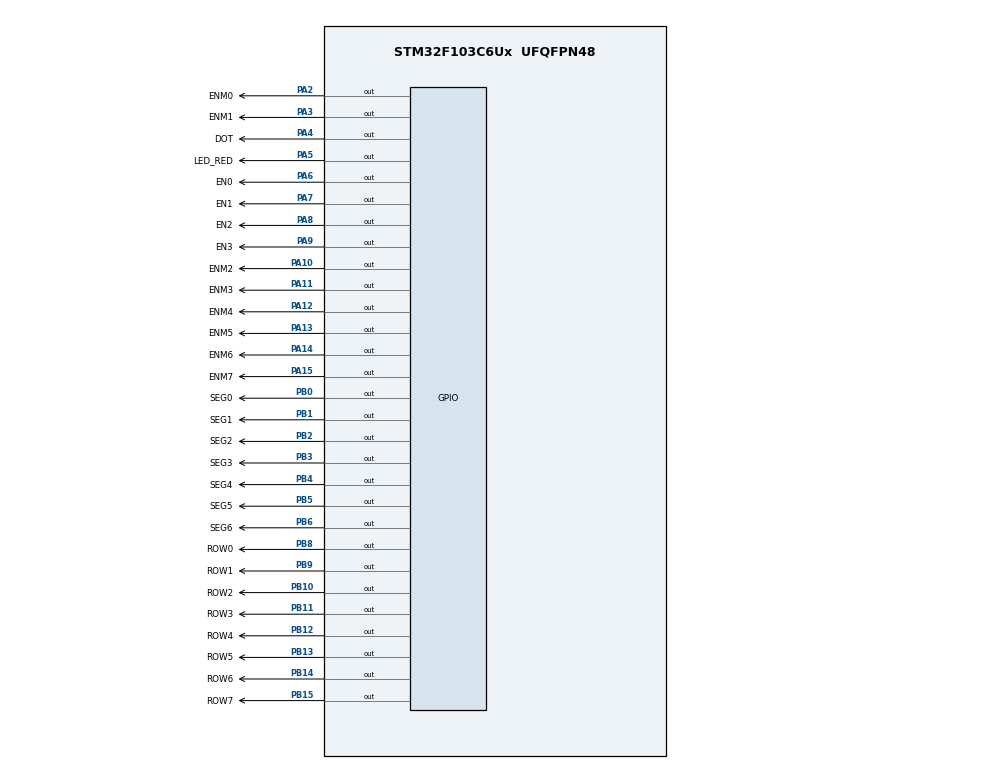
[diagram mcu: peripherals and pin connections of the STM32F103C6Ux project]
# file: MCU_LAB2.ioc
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Mcu.Family=STM32F1
Mcu.Name=STM32F103C6Ux
Mcu.Package=UFQFPN48
NVIC.PriorityGroup=NVIC_PRIORITYGROUP_4
NVIC.TIM2_IRQn=true\:0\:0\:false\:false\:true\:true\:true
PA10.GPIO_Label=ENM2
PA10.Signal=GPIO_Output
PA11.GPIO_Label=ENM3
PA11.Signal=GPIO_Output
PA12.GPIO_Label=ENM4
PA12.Signal=GPIO_Output
PA13.GPIO_Label=ENM5
PA13.Signal=GPIO_Output
PA14.GPIO_Label=ENM6
PA14.Signal=GPIO_Output
PA15.GPIO_Label=ENM7
PA15.Signal=GPIO_Output
PA2.GPIO_Label=ENM0
PA2.Signal=GPIO_Output
PA3.GPIO_Label=ENM1
PA3.Signal=GPIO_Output
PA4.GPIO_Label=DOT
PA4.Signal=GPIO_Output
PA5.GPIO_Label=LED_RED
PA5.Signal=GPIO_Output
PA6.GPIO_Label=EN0
PA6.Signal=GPIO_Output
PA7.GPIO_Label=EN1
PA7.Signal=GPIO_Output
PA8.GPIO_Label=EN2
PA8.Signal=GPIO_Output
PA9.GPIO_Label=EN3
PA9.Signal=GPIO_Output
PB0.GPIO_Label=SEG0
PB0.Signal=GPIO_Output
PB1.GPIO_Label=SEG1
PB1.Signal=GPIO_Output
PB10.GPIO_Label=ROW2
PB10.Signal=GPIO_Output
PB11.GPIO_Label=ROW3
PB11.Signal=GPIO_Output
PB12.GPIO_Label=ROW4
PB12.Signal=GPIO_Output
PB13.GPIO_Label=ROW5
PB13.Signal=GPIO_Output
PB14.GPIO_Label=ROW6
PB14.Signal=GPIO_Output
PB15.GPIO_Label=ROW7
PB15.Signal=GPIO_Output
PB2.GPIO_Label=SEG2
PB2.Signal=GPIO_Output
PB3.GPIO_Label=SEG3
PB3.Signal=GPIO_Output
PB4.GPIO_Label=SEG4
PB4.Signal=GPIO_Output
PB5.GPIO_Label=SEG5
PB5.Signal=GPIO_Output
PB6.GPIO_Label=SEG6
PB6.Signal=GPIO_Output
PB8.GPIO_Label=ROW0
PB8.Signal=GPIO_Output
PB9.GPIO_Label=ROW1
PB9.Signal=GPIO_Output
ProjectManager.HeapSize=0x200
ProjectManager.StackSize=0x400
ProjectManager.TargetToolchain=STM32CubeIDE
RCC.APB1Freq_Value=8000000
RCC.APB2Freq_Value=8000000
TIM2.Period=9
TIM2.Prescaler=7999
VP_SYS_VS_ND.Mode=No_Debug
VP_TIM2_VS_ClockSourceINT.Mode=Internal
board=custom

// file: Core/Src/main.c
/* USER CODE BEGIN Header */
/**
  ******************************************************************************
  * @file           : main.c
  * @brief          : Main program body
  ******************************************************************************
  * @attention
  *
  * <h2><center>&copy; Copyright (c) 2023 STMicroelectronics.
  * All rights reserved.</center></h2>
  *
  * This software component is licensed by ST under BSD 3-Clause license,
  * the "License"; You may not use this file except in compliance with the
  * License. You may obtain a copy of the License at:
  *                        opensource.org/licenses/BSD-3-Clause
  *
  ******************************************************************************
  */
/* USER CODE END Header */
#include "main.h"

TIM_HandleTypeDef htim2;

void SystemClock_Config(void);
static void MX_GPIO_Init(void);
static void MX_TIM2_Init(void);

/* USER CODE BEGIN 0 */
const int MAX_LED = 4;
int index_led = 0;
int led_buffer[4] = {1,2,3,4};
int hour = 15, minute = 8, second = 50;
void display7SEG(int num) {
	switch (num) {
		case 0:
			HAL_GPIO_WritePin(GPIOB, 0B0111111, GPIO_PIN_RESET);
			HAL_GPIO_WritePin(GPIOB, 0B1000000, GPIO_PIN_SET);
			break;
		case 1:
			HAL_GPIO_WritePin(GPIOB, 0B0000110, GPIO_PIN_RESET);
			HAL_GPIO_WritePin(GPIOB, 0B1111001, GPIO_PIN_SET);
			break;
		case 2:
			HAL_GPIO_WritePin(GPIOB, 0B1011011, GPIO_PIN_RESET);
			HAL_GPIO_WritePin(GPIOB, 0B0100100, GPIO_PIN_SET);
			break;
		case 3:
			HAL_GPIO_WritePin(GPIOB, 0B1001111, GPIO_PIN_RESET);
			HAL_GPIO_WritePin(GPIOB, 0B0110000, GPIO_PIN_SET);
			break;
		case 4:
			HAL_GPIO_WritePin(GPIOB, 0B1100110, GPIO_PIN_RESET);
			HAL_GPIO_WritePin(GPIOB, 0B0011001, GPIO_PIN_SET);
			break;
		case 5:
			HAL_GPIO_WritePin(GPIOB, 0B1101101, GPIO_PIN_RESET);
			HAL_GPIO_WritePin(GPIOB, 0B0010010, GPIO_PIN_SET);
			break;
		case 6:
			HAL_GPIO_WritePin(GPIOB, 0B1111101, GPIO_PIN_RESET);
			HAL_GPIO_WritePin(GPIOB, 0B0000010, GPIO_PIN_SET);
			break;
		case 7:
			HAL_GPIO_WritePin(GPIOB, 0B0000111, GPIO_PIN_RESET);
			HAL_GPIO_WritePin(GPIOB, 0B1111000, GPIO_PIN_SET);
			break;
		case 8:
			HAL_GPIO_WritePin(GPIOB, 0B1111111, GPIO_PIN_RESET);
			break;
		case 9:
			HAL_GPIO_WritePin(GPIOB, 0B1101111, GPIO_PIN_RESET);
			HAL_GPIO_WritePin(GPIOB, 0B0010000, GPIO_PIN_SET);
			break;
		default:
			HAL_GPIO_WritePin(GPIOB, 0B1111111, GPIO_PIN_SET);
			break;
	}
}
void update7SEG(int index) {
	switch (index) {
		case 0:
			HAL_GPIO_WritePin(GPIOA, EN0_Pin, GPIO_PIN_RESET);
			HAL_GPIO_WritePin(GPIOA, EN1_Pin | EN2_Pin | EN3_Pin, GPIO_PIN_SET);
			display7SEG(led_buffer[index]);
			index_led = 1;
			break;
		case 1:
			HAL_GPIO_WritePin(GPIOA, EN1_Pin, GPIO_PIN_RESET);
			HAL_GPIO_WritePin(GPIOA, EN0_Pin | EN2_Pin | EN3_Pin, GPIO_PIN_SET);
			display7SEG(led_buffer[index]);
			index_led = 2;
			break;
		case 2:
			HAL_GPIO_WritePin(GPIOA, EN2_Pin, GPIO_PIN_RESET);
			HAL_GPIO_WritePin(GPIOA, EN0_Pin | EN1_Pin | EN3_Pin, GPIO_PIN_SET);
			display7SEG(led_buffer[index]);
			index_led = 3;
			break;
		case 3:
			HAL_GPIO_WritePin(GPIOA, EN3_Pin, GPIO_PIN_RESET);
			HAL_GPIO_WritePin(GPIOA, EN0_Pin | EN1_Pin | EN2_Pin, GPIO_PIN_SET);
			display7SEG(led_buffer[index]);
			index_led = 0;
			break;
		default:
			break;
	}
}
void updateClockBuffer() {
	led_buffer[0] = (int) (hour/10);
	led_buffer[1] = (int) (hour%10);
	led_buffer[2] = (int) (minute/10);
	led_buffer[3] = (int) (minute%10);
}
int timer1_flag = 0;
int timer1_counter = 0;
int timer0_flag = 0;
int timer0_counter = 0;
int TIMER_CYCLE = 10;
void setTimer1(int duration)
{
	timer1_counter = duration/TIMER_CYCLE;
	timer1_flag = 0;
}

void setTimer0(int duration)
{
	timer0_counter = duration/TIMER_CYCLE;
	timer0_flag = 0;
}

void timerRun()
{
	if(timer1_counter > 0){
		timer1_counter--;
		if(timer1_counter <= 0){
			timer1_flag = 1;
		}
	}

	if(timer0_counter > 0){
		timer0_counter--;
		if(timer0_counter <= 0){
			timer0_flag = 1;
		}
	}
}
/* USER CODE END 0 */

int main(void)
{

  /* MCU Configuration--------------------------------------------------------*/

  /* Reset of all peripherals, Initializes the Flash interface and the Systick. */
  HAL_Init();

  /* Configure the system clock */
  SystemClock_Config();

  /* Initialize all configured peripherals */
  MX_GPIO_Init();
  MX_TIM2_Init();
  /* USER CODE BEGIN 2 */
  HAL_TIM_Base_Start_IT (& htim2 );
  /* USER CODE END 2 */

  /* Infinite loop */
  /* USER CODE BEGIN WHILE */
  setTimer0(1000);
  setTimer1(250);
  while (1)
  {
    /* USER CODE END WHILE */
	  if (timer0_flag == 1) {
		  second++;
		  if (second >= 60) {
			  second = 0;
			  minute++;
		  }
		  if(minute >= 60) {
			  minute = 0;
			  hour++;
		  }
		  if(hour >=24){
			  hour = 0;
		  }
		  updateClockBuffer();
		  HAL_GPIO_TogglePin(DOT_GPIO_Port, DOT_Pin);
		  HAL_GPIO_TogglePin(LED_RED_GPIO_Port, LED_RED_Pin);
		  setTimer0(1000);
	  }
	  if (timer1_flag == 1) {
		  update7SEG(index_led);
		  setTimer1(250);
	  }
  }
}

void SystemClock_Config(void)
{
  RCC_OscInitTypeDef RCC_OscInitStruct = {0};
  RCC_ClkInitTypeDef RCC_ClkInitStruct = {0};

  /** Initializes the RCC Oscillators according to the specified parameters
  * in the RCC_OscInitTypeDef structure.
  */
  RCC_OscInitStruct.OscillatorType = RCC_OSCILLATORTYPE_HSI;
  RCC_OscInitStruct.HSIState = RCC_HSI_ON;
  RCC_OscInitStruct.HSICalibrationValue = RCC_HSICALIBRATION_DEFAULT;
  RCC_OscInitStruct.PLL.PLLState = RCC_PLL_NONE;
  if (HAL_RCC_OscConfig(&RCC_OscInitStruct) != HAL_OK)
  {
    Error_Handler();
  }
  /** Initializes the CPU, AHB and APB buses clocks
  */
  RCC_ClkInitStruct.ClockType = RCC_CLOCKTYPE_HCLK|RCC_CLOCKTYPE_SYSCLK
                              |RCC_CLOCKTYPE_PCLK1|RCC_CLOCKTYPE_PCLK2;
  RCC_ClkInitStruct.SYSCLKSource = RCC_SYSCLKSOURCE_HSI;
  RCC_ClkInitStruct.AHBCLKDivider = RCC_SYSCLK_DIV1;
  RCC_ClkInitStruct.APB1CLKDivider = RCC_HCLK_DIV1;
  RCC_ClkInitStruct.APB2CLKDivider = RCC_HCLK_DIV1;

  if (HAL_RCC_ClockConfig(&RCC_ClkInitStruct, FLASH_LATENCY_0) != HAL_OK)
  {
    Error_Handler();
  }
}

static void MX_TIM2_Init(void)
{

  TIM_ClockConfigTypeDef sClockSourceConfig = {0};
  TIM_MasterConfigTypeDef sMasterConfig = {0};

  htim2.Instance = TIM2;
  htim2.Init.Prescaler = 7999;
  htim2.Init.CounterMode = TIM_COUNTERMODE_UP;
  htim2.Init.Period = 9;
  htim2.Init.ClockDivision = TIM_CLOCKDIVISION_DIV1;
  htim2.Init.AutoReloadPreload = TIM_AUTORELOAD_PRELOAD_DISABLE;
  if (HAL_TIM_Base_Init(&htim2) != HAL_OK)
  {
    Error_Handler();
  }
  sClockSourceConfig.ClockSource = TIM_CLOCKSOURCE_INTERNAL;
  if (HAL_TIM_ConfigClockSource(&htim2, &sClockSourceConfig) != HAL_OK)
  {
    Error_Handler();
  }
  sMasterConfig.MasterOutputTrigger = TIM_TRGO_RESET;
  sMasterConfig.MasterSlaveMode = TIM_MASTERSLAVEMODE_DISABLE;
  if (HAL_TIMEx_MasterConfigSynchronization(&htim2, &sMasterConfig) != HAL_OK)
  {
    Error_Handler();
  }

}

static void MX_GPIO_Init(void)
{
  GPIO_InitTypeDef GPIO_InitStruct = {0};

  /* GPIO Ports Clock Enable */
  __HAL_RCC_GPIOA_CLK_ENABLE();
  __HAL_RCC_GPIOB_CLK_ENABLE();

  /*Configure GPIO pin Output Level */
  HAL_GPIO_WritePin(GPIOA, DOT_Pin|LED_RED_Pin|EN0_Pin|EN1_Pin
                          |EN2_Pin|EN3_Pin, GPIO_PIN_RESET);

  /*Configure GPIO pin Output Level */
  HAL_GPIO_WritePin(GPIOB, SEG0_Pin|SEG1_Pin|SEG2_Pin|SEG3_Pin
                          |SEG4_Pin|SEG5_Pin|SEG6_Pin, GPIO_PIN_RESET);

  /*Configure GPIO pins : DOT_Pin LED_RED_Pin EN0_Pin EN1_Pin
                           EN2_Pin EN3_Pin */
  GPIO_InitStruct.Pin = DOT_Pin|LED_RED_Pin|EN0_Pin|EN1_Pin
                          |EN2_Pin|EN3_Pin;
  GPIO_InitStruct.Mode = GPIO_MODE_OUTPUT_PP;
  GPIO_InitStruct.Pull = GPIO_NOPULL;
  GPIO_InitStruct.Speed = GPIO_SPEED_FREQ_LOW;
  HAL_GPIO_Init(GPIOA, &GPIO_InitStruct);

  /*Configure GPIO pins : SEG0_Pin SEG1_Pin SEG2_Pin SEG3_Pin
                           SEG4_Pin SEG5_Pin SEG6_Pin */
  GPIO_InitStruct.Pin = SEG0_Pin|SEG1_Pin|SEG2_Pin|SEG3_Pin
                          |SEG4_Pin|SEG5_Pin|SEG6_Pin;
  GPIO_InitStruct.Mode = GPIO_MODE_OUTPUT_PP;
  GPIO_InitStruct.Pull = GPIO_NOPULL;
  GPIO_InitStruct.Speed = GPIO_SPEED_FREQ_LOW;
  HAL_GPIO_Init(GPIOB, &GPIO_InitStruct);

}

/* USER CODE BEGIN 4 */
void HAL_TIM_PeriodElapsedCallback(TIM_HandleTypeDef *htim) {
	timerRun();
}
/* USER CODE END 4 */

void Error_Handler(void)
{
  __disable_irq();
  while (1)
  {
  }
}

/************************ (C) COPYRIGHT STMicroelectronics *****END OF FILE****/
